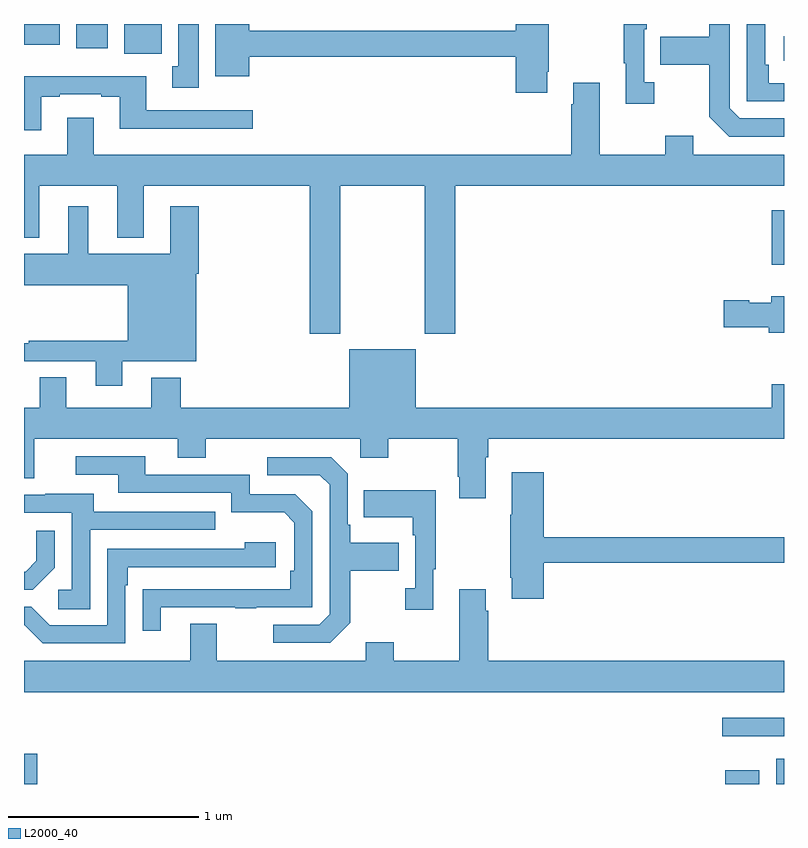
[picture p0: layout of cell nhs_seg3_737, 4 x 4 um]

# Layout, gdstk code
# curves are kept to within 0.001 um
import gdstk
lib = gdstk.Library(unit=1e-6, precision=1e-09)
def R(c, l, rs):  # rectangles x0, y0, x1, y1
    for r in rs: c.add(gdstk.rectangle(r[:2], r[2:], *l))
def P(c, l, *ps):  # polygons
    for p in ps: c.add(gdstk.Polygon(p, *l))
L2000_40 = (2000, 40)

nhs_seg3_737 = lib.new_cell('nhs_seg3_737')
R(nhs_seg3_737, L2000_40, [(147,732.4,147.071,732.559), (150.692,732.4,150.871,732.472), (150.959,732.4,151,732.532), (150.675,732.651,151,732.748), (150.935,735.134,151,735.421), (150.999,736.206,151,736.336), (147.527,736.244,147.724,736.4), (147.275,736.272,147.442,736.4), (147,736.292,147.187,736.4)])
P(nhs_seg3_737, L2000_40, [(151,735.903),(150.768,735.903),(150.714,735.957),(150.714,736.4),(150.606,736.4),(150.606,736.333),(150.349,736.333),(150.349,736.186),(150.606,736.186),(150.606,735.913),(150.711,735.807),(151,735.807)],
  [(149.755,736.15),(149.763,736.15),(149.763,736.4),(149.588,736.4),(149.588,736.364),(148.186,736.364),(148.186,736.4),(148.007,736.4),(148.007,736.124),(148.186,736.124),(148.186,736.228),(149.588,736.228),(149.588,736.038),(149.755,736.038)],
  [(147.919,736.4),(147.812,736.4),(147.812,736.178),(147.779,736.178),(147.779,736.065),(147.919,736.065)],
  [(151,736.089),(150.92,736.089),(150.92,736.186),(150.9,736.186),(150.9,736.4),(150.804,736.4),(150.804,735.993),(151,735.993)],
  [(150.316,736.094),(150.264,736.094),(150.264,736.373),(150.277,736.373),(150.277,736.4),(150.156,736.4),(150.156,736.193),(150.167,736.193),(150.167,735.981),(150.316,735.981)],
  [(147.091,736.017),(147.187,736.017),(147.187,736.029),(147.407,736.029),(147.407,736.017),(147.503,736.017),(147.503,735.848),(148.204,735.848),(148.204,735.945),(147.643,735.945),(147.643,736.126),(147,736.126),(147,735.84),(147.091,735.84)],
  [(147.367,735.907),(147.227,735.907),(147.227,735.712),(147,735.712),(147,735.275),(147.079,735.275),(147.079,735.548),(147.491,735.548),(147.491,735.275),(147.631,735.275),(147.631,735.548),(148.505,735.548),(148.505,734.769),(148.665,734.769),(148.665,735.548),(149.11,735.548),(149.11,734.769),(149.27,734.769),(149.27,735.548),(151,735.548),(151,735.712),(150.523,735.712),(150.523,735.811),(150.376,735.811),(150.376,735.712),(150.031,735.712),(150.031,736.09),(149.891,736.09),(149.891,735.977),(149.879,735.977),(149.879,735.712),(147.367,735.712)],
  [(147.517,734.624),(147.907,734.624),(147.907,735.086),(147.92,735.086),(147.92,735.442),(147.77,735.442),(147.77,735.19),(147.337,735.19),(147.337,735.442),(147.233,735.442),(147.233,735.19),(147,735.19),(147,735.026),(147.545,735.026),(147.545,734.734),(147.025,734.734),(147.025,734.721),(147,734.721),(147,734.625),(147.377,734.625),(147.377,734.496),(147.517,734.496)],
  [(151,734.968),(150.932,734.968),(150.932,734.932),(150.816,734.932),(150.816,734.945),(150.684,734.945),(150.684,734.803),(150.92,734.803),(150.92,734.774),(151,734.774)],
  [(148.712,734.38),(147.824,734.38),(147.824,734.539),(147.671,734.539),(147.671,734.38),(147.223,734.38),(147.223,734.54),(147.083,734.54),(147.083,734.38),(147,734.38),(147,734.008),(147.055,734.008),(147.055,734.216),(147.809,734.216),(147.809,734.117),(147.957,734.117),(147.957,734.216),(148.77,734.216),(148.77,734.117),(148.917,734.117),(148.917,734.216),(149.284,734.216),(149.284,734.017),(149.291,734.017),(149.291,733.905),(149.431,733.905),(149.431,734.12),(149.444,734.12),(149.444,734.216),(151,734.216),(151,734.504),(150.935,734.504),(150.935,734.38),(149.062,734.38),(149.062,734.689),(148.712,734.689)],
  [(147.721,733.329),(148.111,733.329),(148.111,733.324),(148.223,733.324),(148.223,733.329),(148.518,733.329),(148.518,733.836),(148.428,733.926),(148.188,733.926),(148.188,734.028),(147.637,734.028),(147.637,734.124),(147.273,734.124),(147.273,734.028),(147.497,734.028),(147.497,733.932),(148.092,733.932),(148.092,733.829),(148.369,733.829),(148.422,733.776),(148.422,733.522),(148.402,733.522),(148.402,733.425),(147.625,733.424),(147.625,733.206),(147.721,733.206)],
  [(148.717,733.249),(148.717,733.522),(148.973,733.522),(148.973,733.669),(148.717,733.669),(148.717,733.765),(148.704,733.765),(148.704,734.034),(148.617,734.121),(148.281,734.121),(148.281,734.025),(148.557,734.025),(148.608,733.974),(148.608,733.293),(148.554,733.239),(148.311,733.239),(148.311,733.143),(148.611,733.143)],
  [(149.735,733.564),(151,733.564),(151,733.7),(149.735,733.7),(149.735,734.041),(149.567,734.041),(149.567,733.817),(149.56,733.817),(149.56,733.486),(149.567,733.486),(149.567,733.374),(149.735,733.374)],
  [(149.155,733.529),(149.167,733.529),(149.167,733.945),(148.789,733.945),(148.789,733.805),(149.046,733.805),(149.046,733.709),(149.058,733.709),(149.058,733.43),(149.007,733.43),(149.007,733.317),(149.155,733.317)],
  [(147.348,733.737),(148.007,733.737),(148.007,733.833),(147.367,733.833),(147.367,733.927),(147.113,733.927),(147.113,733.923),(147,733.923),(147,733.827),(147.252,733.827),(147.252,733.422),(147.18,733.422),(147.18,733.321),(147.348,733.321)],
  [(147.162,733.538),(147.162,733.732),(147.065,733.732),(147.065,733.575),(147.008,733.518),(147,733.518),(147,733.422),(147.046,733.422)],
  [(147.534,733.445),(147.547,733.445),(147.547,733.542),(148.324,733.542),(148.324,733.672),(148.163,733.672),(148.163,733.638),(147.438,733.638),(147.438,733.236),(147.135,733.236),(147.039,733.332),(147,733.332),(147,733.236),(147.003,733.236),(147.099,733.14),(147.534,733.14)],
  [(151,733.048),(149.444,733.048),(149.444,733.313),(149.431,733.313),(149.431,733.426),(149.291,733.426),(149.291,733.048),(148.947,733.048),(148.947,733.147),(148.799,733.147),(148.799,733.048),(148.015,733.048),(148.015,733.243),(147.875,733.243),(147.875,733.048),(147,733.048),(147,732.884),(151,732.884)])

lib.write_gds('nhs_seg3_737.gds')
